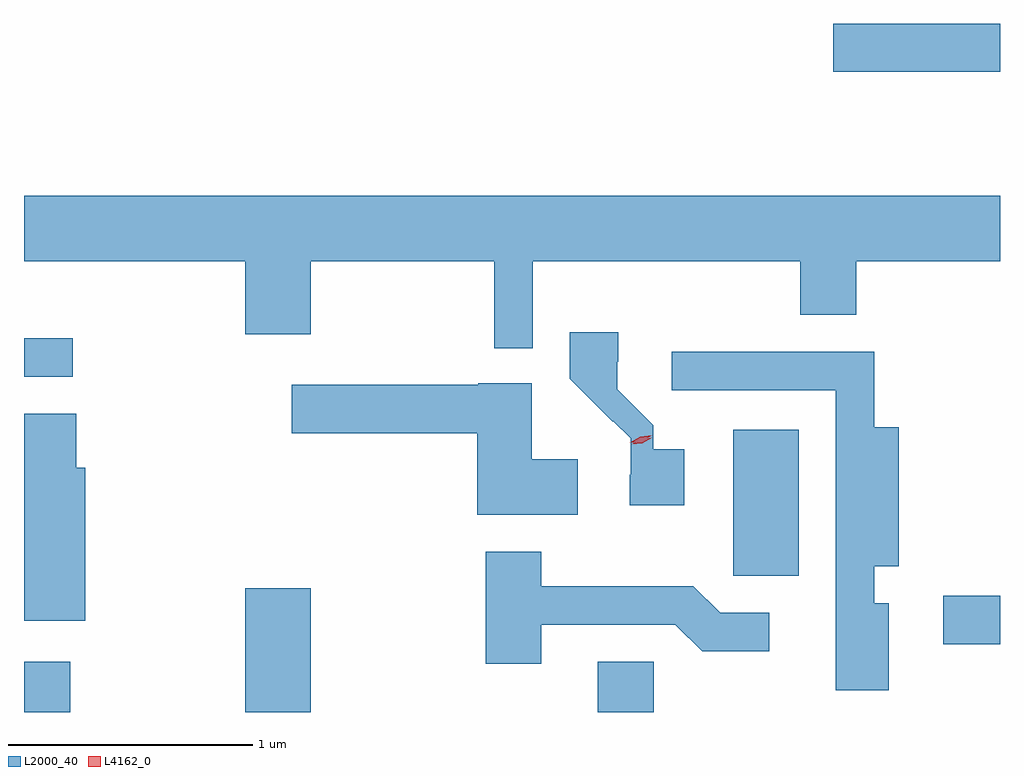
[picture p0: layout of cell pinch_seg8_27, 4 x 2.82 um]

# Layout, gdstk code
import gdstk
lib = gdstk.Library(unit=1e-6, precision=1e-09)
def R(c, l, rs):  # rectangles x0, y0, x1, y1
    for r in rs: c.add(gdstk.rectangle(r[:2], r[2:], *l))
def P(c, l, *ps):  # polygons
    for p in ps: c.add(gdstk.Polygon(p, *l))
L2000_40 = (2000, 40)
L4162_0 = (4162, 0)

pinch_seg8_27 = lib.new_cell('pinch_seg8_27')
R(pinch_seg8_27, L2000_40, [(833.549,1932.246,833.739,1932.454), (834.456,1932.246,834.724,1932.754), (835.901,1932.246,836.129,1932.454), (837.316,1932.526,837.549,1932.724), (836.456,1932.806,836.724,1933.404), (833.549,1933.621,833.748,1933.779), (836.866,1934.871,837.549,1935.069)])
P(pinch_seg8_27, L2000_40, [(833.549,1934.096),(834.456,1934.096),(834.456,1933.796),(834.724,1933.796),(834.724,1934.096),(835.476,1934.096),(835.476,1933.738),(835.634,1933.738),(835.634,1934.096),(836.731,1934.096),(836.731,1933.876),(836.959,1933.876),(836.959,1934.096),(837.549,1934.096),(837.549,1934.364),(833.549,1934.364)],
  [(836.254,1933.324),(836.128,1933.324),(836.128,1933.423),(835.98,1933.571),(835.98,1933.683),(835.984,1933.683),(835.984,1933.804),(835.786,1933.804),(835.786,1933.613),(835.962,1933.437),(835.964,1933.44),(836.035,1933.369),(836.035,1933.22),(836.031,1933.22),(836.031,1933.096),(836.254,1933.096)],
  [(837.094,1932.694),(837.034,1932.694),(837.034,1932.846),(837.134,1932.846),(837.134,1933.414),(837.034,1933.414),(837.034,1933.724),(836.203,1933.724),(836.203,1933.566),(836.876,1933.566),(836.876,1932.336),(837.094,1932.336)],
  [(835.819,1933.284),(835.629,1933.284),(835.629,1933.594),(835.41,1933.594),(835.41,1933.589),(834.646,1933.589),(834.646,1933.391),(835.406,1933.391),(835.406,1933.056),(835.819,1933.056)],
  [(833.799,1933.249),(833.764,1933.249),(833.764,1933.469),(833.549,1933.469),(833.549,1932.621),(833.799,1932.621)],
  [(835.669,1932.606),(836.219,1932.606),(836.329,1932.496),(836.603,1932.496),(836.603,1932.654),(836.402,1932.654),(836.292,1932.764),(835.669,1932.764),(835.669,1932.904),(835.441,1932.904),(835.441,1932.446),(835.669,1932.446)])
P(pinch_seg8_27, L4162_0, [(836.038,1933.346),(836.039,1933.346),(836.077,1933.368),(836.12,1933.372),(836.121,1933.372),(836.121,1933.371),(836.083,1933.349),(836.039,1933.346)],
  [(836.031,1933.351),(836.031,1933.352),(836.074,1933.376),(836.123,1933.382),(836.124,1933.381),(836.124,1933.381),(836.08,1933.357),(836.032,1933.351)])

lib.write_gds('pinch_seg8_27.gds')
